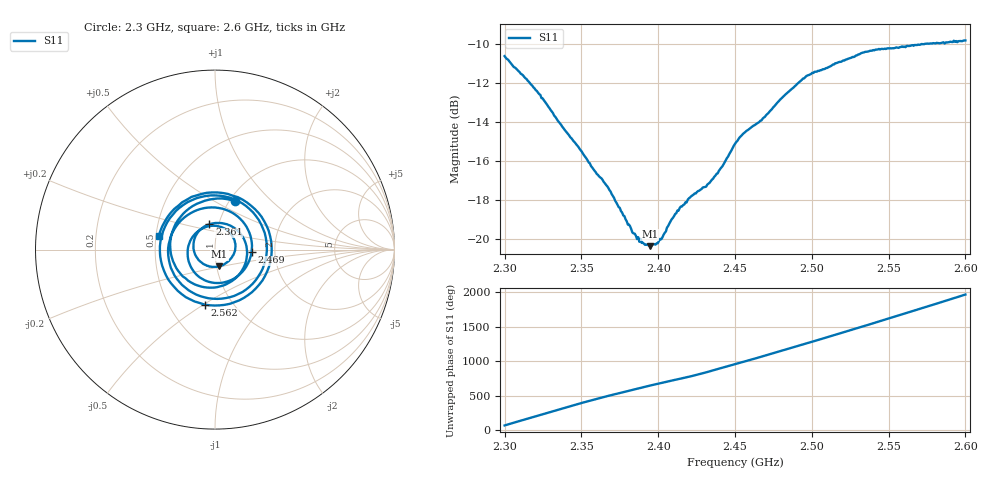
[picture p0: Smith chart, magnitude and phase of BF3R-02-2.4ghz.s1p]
! NanoVNA-App
! Date: 2026-05-22 16:06:29
! Start: 2.3GHz Stop: 2.6GHz Points: 401
! S-Parameter data: F S11
# Hz S RI R 50
!  Frequency  S11_Real  S11_Imag
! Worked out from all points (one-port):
!   401 points, 2.3 GHz to 2.6 GHz, reference 50 ohm
!   lowest |S11| = -20.4 dB at 2.394 GHz (marker M1), VSWR 1.21, Z = 51.6 - j9.64 ohm
!   |S11| at or under -10 dB: start of sweep to 2.577 GHz; 2.578047 GHz to 2.57835 GHz (303.1 kHz wide, 0.0118 % of centre); 2.586452 GHz to 2.586552 GHz (100.1 kHz wide, 0.00387 % of centre)
!   S11 on the Smith chart (normalised r, x): 2.3 GHz: 1.06, +0.63; 2.361 GHz: 0.90, +0.26; 2.469 GHz: 1.51, -0.05; 2.562 GHz: 0.74, -0.51; 2.6 GHz: 0.52, +0.09
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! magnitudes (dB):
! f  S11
! 2.3 GHz  -10.6
! 2.322 GHz  -12.5
! 2.337 GHz  -14.3
! 2.349 GHz  -15.4
! 2.361 GHz  -16.8
! 2.368 GHz  -17.4
! 2.375 GHz  -18.4
! 2.385 GHz  -19.7
! 2.391 GHz  -20.3
! 2.394 GHz  -20.4
! 2.398 GHz  -20.3
! 2.401 GHz  -20.0
! 2.409 GHz  -19.0
! 2.413 GHz  -18.6
! 2.421 GHz  -17.9
! 2.434 GHz  -17.1
! 2.442 GHz  -16.3
! 2.45 GHz  -15.1
! 2.456 GHz  -14.6
! 2.469 GHz  -13.8
! 2.48 GHz  -12.8
! 2.487 GHz  -12.3
! 2.499 GHz  -11.6
! 2.525 GHz  -10.8
! 2.538 GHz  -10.4
! 2.562 GHz  -10.1
! 2.562 GHz  -10.1
! 2.6 GHz  -9.8
